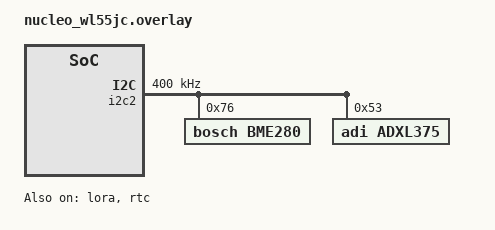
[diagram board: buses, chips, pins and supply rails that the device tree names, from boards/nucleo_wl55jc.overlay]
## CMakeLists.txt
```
cmake_minimum_required(VERSION 3.20)
find_package(Zephyr REQUIRED HINTS $ENV{ZEPHYR_BASE})
project(my_lora_app)

# headers
target_include_directories(app PRIVATE src/include)

# source files
target_sources(app PRIVATE
    src/main.c
    src/sensors.c
    src/lora.c
)
```

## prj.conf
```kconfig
CONFIG_I2C=y
CONFIG_SENSOR=y
CONFIG_BME280=y
CONFIG_FPU=y
CONFIG_DEBUG=y
CONFIG_ADXL375=y

# Enable RTC
CONFIG_RTC=y
CONFIG_RTC_STM32=y

# Enable LoRa Driver Subsystem
CONFIG_LORA=n

# Logging Configuration
CONFIG_LOG=y
CONFIG_LORA_LOG_LEVEL_DBG=y

# System / Threading
CONFIG_MAIN_STACK_SIZE=2048
```

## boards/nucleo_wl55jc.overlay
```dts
/ {
	chosen {
		zephyr,code-partition = &slot0_partition;
		zephyr,sram = &sram0;
	};

	aliases {
		lora0 = &lora;
	};

	/* Shared SRAM region for IPCC / Dual-Core IPC */
	reserved-memory {
		#address-cells = <1>;
		#size-cells = <1>;
		ranges;

		/* Carve out 4KB at 0x2000C000 for IPC */
		ipc_shm: memory@2000c000 {
			compatible = "zephyr,memory-region";
			reg = <0x2000c000 DT_SIZE_K(4)>;
			zephyr,memory-region = "IPC_SHM";
		};
	};
};

/* Delete the board's default flash partition */
&flash0 {
	/delete-node/ partitions;
};

&flash0 {
	partitions {
		compatible = "fixed-partitions";
		#address-cells = <1>;
		#size-cells = <1>;

		/* Core 1 (Zephyr M4) - 128KB */
		slot0_partition: partition@0 {
			label = "image-0";
			reg = <0x00000000 DT_SIZE_K(128)>;
		};

		/* Core 2 (Bare-Metal M0+) - 128KB */
		core2_partition: partition@20000 {
			label = "core2-code";
			reg = <0x00020000 DT_SIZE_K(128)>;
		};
	};
};

/* Restrict SRAM0 for Core 1 */
&sram0 {
	reg = <0x20000000 DT_SIZE_K(48)>;
};

&lora {
	status = "okay";
	power-amplifier-output = "rfo-hp"; 
	
	antenna-enable-gpios = <&gpioc 4 GPIO_ACTIVE_HIGH>,  /* FE_CTRL1 */
			       <&gpioc 5 GPIO_ACTIVE_HIGH>,  /* FE_CTRL2 */
			       <&gpioc 3 GPIO_ACTIVE_HIGH>;  /* FE_CTRL3 */
};

&i2c2 {
	status = "okay";
	clock-frequency = <I2C_BITRATE_FAST>;

	bme280: bme280@76 {
		compatible = "bosch,bme280";
		reg = <0x76>;
		status = "okay";
	};

	/* CS high = 0x53 low = 0x1D */
	ADXL375: ADXL375@53 {
		compatible = "adi,adxl375";
		reg = <0x53>;
		status = "okay";
	};
};

&rtc {
	status = "okay";
};
```

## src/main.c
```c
#include <zephyr/kernel.h>
#include <zephyr/logging/log.h>
#include <stm32wlxx_ll_pwr.h>
#include "flight_data.h"

#define IPC_NODE DT_NODELABEL(ipc_shm)
#define IPC_SHM_BASE DT_REG_ADDR(IPC_NODE)

LOG_MODULE_REGISTER(main);

/* Shared section of SRAM */
volatile flight_data_t *curr_flight_data =
    (volatile flight_data_t *)DT_REG_ADDR(IPC_NODE);

int main(void)
{
	/* Release CPU2 boot lock / boot CPU2 from CPU1 */
	LL_PWR_EnableBootC2();

	return 0;
}
```

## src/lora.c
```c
#include <zephyr/kernel.h>
#include <zephyr/device.h>
#include <zephyr/logging/log.h>
#include "flight_data.h"

#ifdef CONFIG_LORA
#include <zephyr/drivers/lora.h>
#include <stm32_ll_hsem.h>

#include "lora.h"

LOG_MODULE_REGISTER(lora);

#define IPC_HSEM_CHANNEL  1

static const struct device *const lora_dev = DEVICE_DT_GET(DT_ALIAS(lora0));

#define LORA_STACK_SIZE   1024
#define LORA_BROADCAST_RATE_HZ 25

static void lock_ipc_hsem(void)
{
    while (LL_HSEM_2StepLock(HSEM, IPC_HSEM_CHANNEL, 0) != 0) {
        k_yield();
    }
}

static void unlock_ipc_hsem(void)
{
    LL_HSEM_ReleaseLock(HSEM, IPC_HSEM_CHANNEL, 0);
}

void lora_thread_entry(void *p1, void *p2, void *p3)
{
    int ret;
    struct lora_modem_config config;

    if (!device_is_ready(lora_dev)) {
        LOG_ERR("LoRa device not ready");
        return;
    }

    config.frequency = 915000000;
    config.bandwidth = BW_125_KHZ;
    config.datarate = SF_7;
    config.coding_rate = CR_4_5;
    config.preamble_len = 8;
    config.tx_power = 14;
    config.tx = true;

    ret = lora_config(lora_dev, &config);
    if (ret < 0) {
        LOG_ERR("LoRa config failed: %d", ret);
        return;
    }

    LOG_INF("LoRa initialized @ 915MHz, SF7, 125kHz");

    while (1) {
        lock_ipc_hsem();

        flight_data_t data;
        memcpy(&data, (const void *)curr_flight_data, sizeof(data));

        unlock_ipc_hsem();

        ret = lora_send(lora_dev, (uint8_t *)&data, sizeof(data));
        if (ret < 0) {
            LOG_WRN("LoRa send failed: %d", ret);
        } else {
            LOG_DBG("Broadcast sent (%zu bytes)", sizeof(data));
        }

        k_sleep(K_MSEC(1000 / LORA_BROADCAST_RATE_HZ));
    }
}

K_THREAD_DEFINE(lora_thread_id, LORA_STACK_SIZE,
                lora_thread_entry, NULL, NULL, NULL,
                5, 0, 0);
#endif
```

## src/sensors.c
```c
#include <stdint.h>
#include <zephyr/kernel.h>
#include <zephyr/device.h>
#include <zephyr/drivers/sensor.h>
#include <zephyr/drivers/rtc.h>
#include "flight_data.h"
#include <stm32_ll_hsem.h>

#define IPC_HSEM_CHANNEL  16

#define SENSOR_THREAD_STACK_SIZE 1024
#define SENSOR_THREAD_PRIORITY   5

static void lock_ipc_hsem(void)
{
    while (LL_HSEM_2StepLock(HSEM, IPC_HSEM_CHANNEL, 0) != 0) {
        k_yield();
    }
}

static void unlock_ipc_hsem(void)
{
    LL_HSEM_ReleaseLock(HSEM, IPC_HSEM_CHANNEL, 0);
}

#ifdef CONFIG_BME280
static const struct device *get_bme280(void)
{
    static const struct device *bme280;
    static bool initialized;

    if (!initialized) {
        bme280 = DEVICE_DT_GET_ANY(bosch_bme280);
        initialized = true;
    }
    return bme280;
}
#endif

#ifdef CONFIG_ADXL375
static const struct device *get_adxl375(void)
{
    static const struct device *adxl375;
    static bool initialized;

    if (!initialized) {
        adxl375 = DEVICE_DT_GET_ANY(adxl375);
        initialized = true;
    }
    return adxl375;
}
#endif

#ifdef CONFIG_BME280
int read_bme280(const struct device *bme280, float *out_tmp, float *out_press, float *out_hum)
{
    if (!device_is_ready(bme280)) {
        printk("BME280 is not ready\n");
        return -ENODEV;
    }

    int ret = sensor_sample_fetch(bme280);
    if (ret < 0) {
        printk("Failed to get sample (%d)\n", ret);
        return ret;
    }

    struct sensor_value temp, press, hum;
    sensor_channel_get(bme280, SENSOR_CHAN_AMBIENT_TEMP, &temp);
    sensor_channel_get(bme280, SENSOR_CHAN_PRESS, &press);
    sensor_channel_get(bme280, SENSOR_CHAN_HUMIDITY, &hum);

    *out_tmp = sensor_value_to_float(&temp);
    *out_press = sensor_value_to_float(&press) * 10.0f;
    *out_hum = sensor_value_to_float(&hum);

    return 0;
}
#endif

#ifdef CONFIG_ADXL375
int read_adxl375(const struct device *adxl375, float *out_x, float *out_y, float *out_z)
{
    if (!device_is_ready(adxl375)) {
        printk("ADXL375 is not ready\n");
        return -ENODEV;
    }

    int ret = sensor_sample_fetch(adxl375);
    if (ret < 0) {
        printk("Failed to get sample (%d)\n", ret);
        return ret;
    }

    struct sensor_value accel[3];
    sensor_channel_get(adxl375, SENSOR_CHAN_ACCEL_XYZ, accel);

    *out_x = sensor_value_to_float(&accel[0]);
    *out_y = sensor_value_to_float(&accel[1]);
    *out_z = sensor_value_to_float(&accel[2]);

    return 0;
}
#endif

#ifdef CONFIG_RTC
int read_rtc_time(ipc_time_t *out_ipc_time)
{
    const struct device *rtc = DEVICE_DT_GET(DT_ALIAS(rtc));
    struct rtc_time rtc_tm;

    if (!device_is_ready(rtc)) {
        return -ENODEV;
    }

    int ret = rtc_get_time(rtc, &rtc_tm);
    if (ret == 0) {
        out_ipc_time->year    = (uint16_t)(rtc_tm.tm_year + 1900);
        out_ipc_time->month   = (uint8_t)(rtc_tm.tm_mon + 1);
        out_ipc_time->day     = (uint8_t)rtc_tm.tm_mday;
        out_ipc_time->hours   = (uint8_t)rtc_tm.tm_hour;
        out_ipc_time->minutes = (uint8_t)rtc_tm.tm_min;
        out_ipc_time->seconds = (uint8_t)rtc_tm.tm_sec;
    }

    return ret;
}
#endif

void update_flight_data(const flight_data_t *local_data)
{
    lock_ipc_hsem();

#ifdef CONFIG_BME280
    curr_flight_data->f_internal_tmp = local_data->f_internal_tmp;
    curr_flight_data->f_pressure     = local_data->f_pressure;
    curr_flight_data->f_humidity     = local_data->f_humidity;
#endif

#ifdef CONFIG_ADXL375
    curr_flight_data->f_ACCEL_X      = local_data->f_ACCEL_X;
    curr_flight_data->f_ACCEL_Y      = local_data->f_ACCEL_Y;
    curr_flight_data->f_ACCEL_Z      = local_data->f_ACCEL_Z;
#endif

#ifdef CONFIG_RTC
    curr_flight_data->rtc_time       = local_data->rtc_time;
#endif

    unlock_ipc_hsem();
}

#ifdef CONFIG_DEBUG
static void debug_print_bme280(const flight_data_t *data)
{
    printk("temp: %.1f pressure: %.1f humidity: %.1f\n",
           (double)data->f_internal_tmp,
           (double)data->f_pressure,
           (double)data->f_humidity);
}

static void debug_print_adxl375(const flight_data_t *data)
{
    printk("X: %.3f Y: %.3f Z: %.3f m/s^2\n",
           (double)data->f_ACCEL_X,
           (double)data->f_ACCEL_Y,
           (double)data->f_ACCEL_Z);
}

static void debug_print_time(const ipc_time_t *t)
{
    printk("[%04d-%02d-%02d %02d:%02d:%02d] ",
           t->year, t->month, t->day, t->hours, t->minutes, t->seconds);
}
#endif

void sensor_thread_entry(void *p1, void *p2, void *p3)
{
    flight_data_t local_sample = {0};

    while (1) {
#ifdef CONFIG_BME280
        float tmp, press, hum;

        if (read_bme280(get_bme280(), &tmp, &press, &hum) == 0) {
            local_sample.f_internal_tmp = tmp;
            local_sample.f_pressure     = press;
            local_sample.f_humidity     = hum;
        }
#endif

#ifdef CONFIG_ADXL375
        float ax, ay, az;

        if (read_adxl375(get_adxl375(), &ax, &ay, &az) == 0) {
            local_sample.f_ACCEL_X = ax;
            local_sample.f_ACCEL_Y = ay;
            local_sample.f_ACCEL_Z = az;
        }
#endif

#ifdef CONFIG_RTC
        ipc_time_t ipc_tm;

        if (read_rtc_time(&ipc_tm) == 0) {
            local_sample.rtc_time = ipc_tm;
        }
#endif

        update_flight_data(&local_sample);

#ifdef CONFIG_DEBUG
#ifdef CONFIG_RTC
        debug_print_time(&local_sample.rtc_time);
#endif
#ifdef CONFIG_BME280
        debug_print_bme280(&local_sample);
#endif
#ifdef CONFIG_ADXL375
        debug_print_adxl375(&local_sample);
#endif
#endif
        k_msleep(1);
    }
}

/* Spawn thread on start */
K_THREAD_DEFINE(sensor_thread_id, SENSOR_THREAD_STACK_SIZE,
                sensor_thread_entry, NULL, NULL, NULL,
                SENSOR_THREAD_PRIORITY, 0, 0);
```
